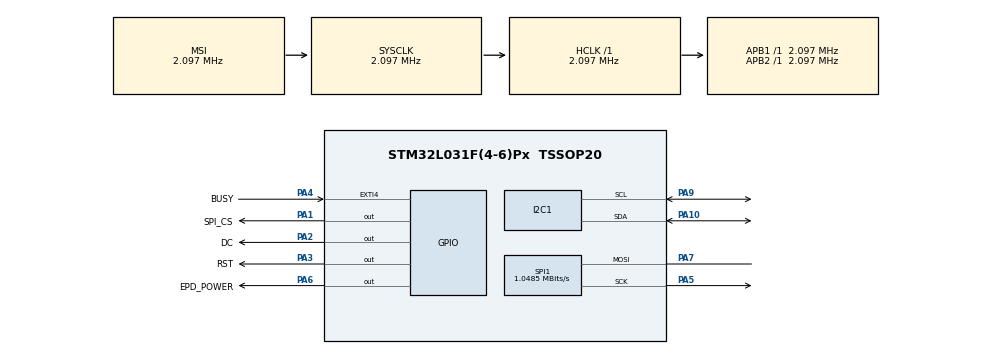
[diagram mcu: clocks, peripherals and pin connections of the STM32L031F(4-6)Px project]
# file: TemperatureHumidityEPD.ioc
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ADC.ClockPrescaler=ADC_CLOCK_SYNC_PCLK_DIV1
ADC.ContinuousConvMode=DISABLE
ADC.DMAContinuousRequests=DISABLE
ADC.DataAlign=ADC_DATAALIGN_RIGHT
ADC.DiscontinuousConvMode=DISABLE
ADC.EOCSelection=ADC_EOC_SINGLE_CONV
ADC.EnableAnalogWatchDog=false
ADC.ExternalTrigConv=ADC_SOFTWARE_START
ADC.ExternalTrigConvEdge=ADC_EXTERNALTRIGCONVEDGE_NONE
ADC.LowPowerAutoPowerOff=DISABLE
ADC.LowPowerAutoWait=ENABLE
ADC.LowPowerFrequencyMode=ENABLE
ADC.Overrun=ADC_OVR_DATA_PRESERVED
ADC.OversamplingMode=DISABLE
ADC.Resolution=ADC_RESOLUTION_12B
ADC.SamplingTime=ADC_SAMPLETIME_1CYCLE_5
ADC.ScanConvMode=ADC_SCAN_DIRECTION_FORWARD
Dma.I2C1_RX.0.Direction=DMA_PERIPH_TO_MEMORY
Dma.I2C1_RX.0.Instance=DMA1_Channel3
Dma.I2C1_RX.0.MemDataAlignment=DMA_MDATAALIGN_BYTE
Dma.I2C1_RX.0.MemInc=DMA_MINC_ENABLE
Dma.I2C1_RX.0.Mode=DMA_NORMAL
Dma.I2C1_RX.0.PeriphDataAlignment=DMA_PDATAALIGN_BYTE
Dma.I2C1_RX.0.PeriphInc=DMA_PINC_DISABLE
Dma.I2C1_RX.0.Priority=DMA_PRIORITY_LOW
Dma.Request0=I2C1_RX
Mcu.Family=STM32L0
Mcu.Name=STM32L031F(4-6)Px
Mcu.Package=TSSOP20
NVIC.DMA1_Channel2_3_IRQn=true\:0\:0\:false\:false\:true\:false
NVIC.EXTI4_15_IRQn=true\:0\:0\:false\:false\:true\:true
NVIC.I2C1_IRQn=true\:0\:0\:false\:false\:true\:true
NVIC.RTC_IRQn=true\:0\:0\:false\:false\:true\:true
PA1.GPIO_Label=SPI_CS
PA1.Signal=GPIO_Output
PA10.Mode=I2C
PA10.Signal=I2C1_SDA
PA13.Mode=Serial_Wire
PA13.Signal=SYS_SWDIO
PA14.Mode=Serial_Wire
PA14.Signal=SYS_SWCLK
PA2.GPIO_Label=DC
PA2.Signal=GPIO_Output
PA3.GPIO_Label=RST
PA3.Signal=GPIO_Output
PA4.GPIO_Label=BUSY
PA4.Signal=GPXTI4
PA5.GPIO_Speed=GPIO_SPEED_FREQ_MEDIUM
PA5.Mode=Simplex_Bidirectional_Master
PA5.Signal=SPI1_SCK
PA6.GPIO_Label=EPD_POWER
PA6.GPIO_ModeDefaultOutputPP=GPIO_MODE_OUTPUT_OD
PA6.PinState=GPIO_PIN_SET
PA6.Signal=GPIO_Output
PA7.GPIO_Speed=GPIO_SPEED_FREQ_MEDIUM
PA7.Mode=Simplex_Bidirectional_Master
PA7.Signal=SPI1_MOSI
PA9.Mode=I2C
PA9.Signal=I2C1_SCL
ProjectManager.HeapSize=0x200
ProjectManager.StackSize=0x400
ProjectManager.TargetToolchain=Makefile
RCC.ADCFreq_Value=16000000
RCC.AHBFreq_Value=2097000
RCC.APB1Freq_Value=2097000
RCC.APB1TimFreq_Value=2097000
RCC.APB2Freq_Value=2097000
RCC.APB2TimFreq_Value=2097000
RCC.HCLKFreq_Value=2097000
RCC.HSE_VALUE=8000000
RCC.HSI16_VALUE=16000000
RCC.HSI_VALUE=16000000
RCC.LSE_VALUE=32768
RCC.MSI_VALUE=2097000
RCC.PLLMUL=RCC_PLLMUL_4
RCC.PWR_Regulator_Voltage_Scale=PWR_REGULATOR_VOLTAGE_SCALE3
RCC.SYSCLKFreq_VALUE=2097000
RCC.VCOOutputFreq_Value=64000000
RCC.VDD_VALUE=3
RTC.AsynchPrediv=124
RTC.StoreOperation=RTC_STOREOPERATION_RESET
RTC.SynchPrediv=295
RTC.WakeUpClock-WakeUp=RTC_WAKEUPCLOCK_CK_SPRE_16BITS
RTC.WakeUpCounter-WakeUp=60
SPI1.BaudRatePrescaler=SPI_BAUDRATEPRESCALER_2
SPI1.CalculateBaudRate=1.0485 MBits/s
SPI1.Direction=SPI_DIRECTION_1LINE
SPI1.Mode=SPI_MODE_MASTER
SPI1.VirtualType=VM_MASTER
VP_ADC_Vref_Input.Mode=IN-Vrefint
VP_RTC_VS_RTC_Activate.Mode=RTC_Enabled
VP_RTC_VS_RTC_Calendar.Mode=RTC_Calendar
VP_RTC_VS_RTC_WakeUp_intern.Mode=WakeUp
board=TemperatureHumidityEPD

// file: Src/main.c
/**
  ******************************************************************************
  * @file           : main.c
  * @brief          : Main program body
  ******************************************************************************
  ** This notice applies to any and all portions of this file
  * that are not between comment pairs USER CODE BEGIN and
  * USER CODE END. Other portions of this file, whether
  * inserted by the user or by software development tools
  * are owned by their respective copyright owners.
  *
  * COPYRIGHT(c) 2018 STMicroelectronics
  *
  * Redistribution and use in source and binary forms, with or without modification,
  * are permitted provided that the following conditions are met:
  *   1. Redistributions of source code must retain the above copyright notice,
  *      this list of conditions and the following disclaimer.
  *   2. Redistributions in binary form must reproduce the above copyright notice,
  *      this list of conditions and the following disclaimer in the documentation
  *      and/or other materials provided with the distribution.
  *   3. Neither the name of STMicroelectronics nor the names of its contributors
  *      may be used to endorse or promote products derived from this software
  *      without specific prior written permission.
  *
  * THIS SOFTWARE IS PROVIDED BY THE COPYRIGHT HOLDERS AND CONTRIBUTORS "AS IS"
  * AND ANY EXPRESS OR IMPLIED WARRANTIES, INCLUDING, BUT NOT LIMITED TO, THE
  * IMPLIED WARRANTIES OF MERCHANTABILITY AND FITNESS FOR A PARTICULAR PURPOSE ARE
  * DISCLAIMED. IN NO EVENT SHALL THE COPYRIGHT HOLDER OR CONTRIBUTORS BE LIABLE
  * FOR ANY DIRECT, INDIRECT, INCIDENTAL, SPECIAL, EXEMPLARY, OR CONSEQUENTIAL
  * DAMAGES (INCLUDING, BUT NOT LIMITED TO, PROCUREMENT OF SUBSTITUTE GOODS OR
  * SERVICES; LOSS OF USE, DATA, OR PROFITS; OR BUSINESS INTERRUPTION) HOWEVER
  * CAUSED AND ON ANY THEORY OF LIABILITY, WHETHER IN CONTRACT, STRICT LIABILITY,
  * OR TORT (INCLUDING NEGLIGENCE OR OTHERWISE) ARISING IN ANY WAY OUT OF THE USE
  * OF THIS SOFTWARE, EVEN IF ADVISED OF THE POSSIBILITY OF SUCH DAMAGE.
  *
  ******************************************************************************
  */
#include "main.h"
#include "stm32l0xx_hal.h"

/* USER CODE BEGIN Includes */
#include "epdcontroller.h"
/* USER CODE END Includes */

ADC_HandleTypeDef hadc;

I2C_HandleTypeDef hi2c1;
DMA_HandleTypeDef hdma_i2c1_rx;

RTC_HandleTypeDef hrtc;

SPI_HandleTypeDef hspi1;

/* USER CODE BEGIN PV */
/* Private variables ---------------------------------------------------------*/

/* USER CODE END PV */

void SystemClock_Config(void);
static void MX_GPIO_Init(void);
static void MX_DMA_Init(void);
static void MX_RTC_Init(void);
static void MX_I2C1_Init(void);
static void MX_SPI1_Init(void);
static void MX_ADC_Init(void);

/* USER CODE BEGIN PFP */
/* Private function prototypes -----------------------------------------------*/
static void MX_RTC_Init_fixed(void);
/* USER CODE END PFP */

int main(void)
{

  /* MCU Configuration----------------------------------------------------------*/

  /* Reset of all peripherals, Initializes the Flash interface and the Systick. */
  HAL_Init();

  /* Configure the system clock */
  SystemClock_Config();

  /* Initialize all configured peripherals */
  MX_GPIO_Init();
  MX_DMA_Init();
  MX_RTC_Init();
  MX_I2C1_Init();
  MX_SPI1_Init();
  MX_ADC_Init();
  /* USER CODE BEGIN 2 */

  // Rerun RTC_Init with bug fix, to make sure HAL_RTC_Init is run
  MX_RTC_Init_fixed();

  /* USER CODE END 2 */

  /* Infinite loop */
  /* USER CODE BEGIN WHILE */

	 pollSensors();
  /* USER CODE END WHILE */

}

void SystemClock_Config(void)
{

  RCC_OscInitTypeDef RCC_OscInitStruct;
  RCC_ClkInitTypeDef RCC_ClkInitStruct;
  RCC_PeriphCLKInitTypeDef PeriphClkInit;

    /**Configure the main internal regulator output voltage
    */
  __HAL_PWR_VOLTAGESCALING_CONFIG(PWR_REGULATOR_VOLTAGE_SCALE3);

    /**Initializes the CPU, AHB and APB busses clocks
    */
  RCC_OscInitStruct.OscillatorType = RCC_OSCILLATORTYPE_LSI|RCC_OSCILLATORTYPE_MSI;
  RCC_OscInitStruct.LSIState = RCC_LSI_ON;
  RCC_OscInitStruct.MSIState = RCC_MSI_ON;
  RCC_OscInitStruct.MSICalibrationValue = 0;
  RCC_OscInitStruct.MSIClockRange = RCC_MSIRANGE_5;
  RCC_OscInitStruct.PLL.PLLState = RCC_PLL_NONE;
  if (HAL_RCC_OscConfig(&RCC_OscInitStruct) != HAL_OK)
  {
    _Error_Handler(__FILE__, __LINE__);
  }

    /**Initializes the CPU, AHB and APB busses clocks
    */
  RCC_ClkInitStruct.ClockType = RCC_CLOCKTYPE_HCLK|RCC_CLOCKTYPE_SYSCLK
                              |RCC_CLOCKTYPE_PCLK1|RCC_CLOCKTYPE_PCLK2;
  RCC_ClkInitStruct.SYSCLKSource = RCC_SYSCLKSOURCE_MSI;
  RCC_ClkInitStruct.AHBCLKDivider = RCC_SYSCLK_DIV1;
  RCC_ClkInitStruct.APB1CLKDivider = RCC_HCLK_DIV1;
  RCC_ClkInitStruct.APB2CLKDivider = RCC_HCLK_DIV1;

  if (HAL_RCC_ClockConfig(&RCC_ClkInitStruct, FLASH_LATENCY_0) != HAL_OK)
  {
    _Error_Handler(__FILE__, __LINE__);
  }

  PeriphClkInit.PeriphClockSelection = RCC_PERIPHCLK_I2C1|RCC_PERIPHCLK_RTC;
  PeriphClkInit.I2c1ClockSelection = RCC_I2C1CLKSOURCE_PCLK1;
  PeriphClkInit.RTCClockSelection = RCC_RTCCLKSOURCE_LSI;
  if (HAL_RCCEx_PeriphCLKConfig(&PeriphClkInit) != HAL_OK)
  {
    _Error_Handler(__FILE__, __LINE__);
  }

    /**Configure the Systick interrupt time
    */
  HAL_SYSTICK_Config(HAL_RCC_GetHCLKFreq()/1000);

    /**Configure the Systick
    */
  HAL_SYSTICK_CLKSourceConfig(SYSTICK_CLKSOURCE_HCLK);

  /* SysTick_IRQn interrupt configuration */
  HAL_NVIC_SetPriority(SysTick_IRQn, 0, 0);
}

/* ADC init function */
static void MX_ADC_Init(void)
{

  ADC_ChannelConfTypeDef sConfig;

    /**Configure the global features of the ADC (Clock, Resolution, Data Alignment and number of conversion)
    */
  hadc.Instance = ADC1;
  hadc.Init.OversamplingMode = DISABLE;
  hadc.Init.ClockPrescaler = ADC_CLOCK_SYNC_PCLK_DIV1;
  hadc.Init.Resolution = ADC_RESOLUTION_12B;
  hadc.Init.SamplingTime = ADC_SAMPLETIME_1CYCLE_5;
  hadc.Init.ScanConvMode = ADC_SCAN_DIRECTION_FORWARD;
  hadc.Init.DataAlign = ADC_DATAALIGN_RIGHT;
  hadc.Init.ContinuousConvMode = DISABLE;
  hadc.Init.DiscontinuousConvMode = DISABLE;
  hadc.Init.ExternalTrigConvEdge = ADC_EXTERNALTRIGCONVEDGE_NONE;
  hadc.Init.ExternalTrigConv = ADC_SOFTWARE_START;
  hadc.Init.DMAContinuousRequests = DISABLE;
  hadc.Init.EOCSelection = ADC_EOC_SINGLE_CONV;
  hadc.Init.Overrun = ADC_OVR_DATA_PRESERVED;
  hadc.Init.LowPowerAutoWait = ENABLE;
  hadc.Init.LowPowerFrequencyMode = ENABLE;
  hadc.Init.LowPowerAutoPowerOff = DISABLE;
  if (HAL_ADC_Init(&hadc) != HAL_OK)
  {
    _Error_Handler(__FILE__, __LINE__);
  }

    /**Configure for the selected ADC regular channel to be converted.
    */
  sConfig.Channel = ADC_CHANNEL_VREFINT;
  sConfig.Rank = ADC_RANK_CHANNEL_NUMBER;
  if (HAL_ADC_ConfigChannel(&hadc, &sConfig) != HAL_OK)
  {
    _Error_Handler(__FILE__, __LINE__);
  }

}

/* I2C1 init function */
static void MX_I2C1_Init(void)
{

  hi2c1.Instance = I2C1;
  hi2c1.Init.Timing = 0x00000708;
  hi2c1.Init.OwnAddress1 = 0;
  hi2c1.Init.AddressingMode = I2C_ADDRESSINGMODE_7BIT;
  hi2c1.Init.DualAddressMode = I2C_DUALADDRESS_DISABLE;
  hi2c1.Init.OwnAddress2 = 0;
  hi2c1.Init.OwnAddress2Masks = I2C_OA2_NOMASK;
  hi2c1.Init.GeneralCallMode = I2C_GENERALCALL_DISABLE;
  hi2c1.Init.NoStretchMode = I2C_NOSTRETCH_DISABLE;
  if (HAL_I2C_Init(&hi2c1) != HAL_OK)
  {
    _Error_Handler(__FILE__, __LINE__);
  }

    /**Configure Analogue filter
    */
  if (HAL_I2CEx_ConfigAnalogFilter(&hi2c1, I2C_ANALOGFILTER_ENABLE) != HAL_OK)
  {
    _Error_Handler(__FILE__, __LINE__);
  }

    /**Configure Digital filter
    */
  if (HAL_I2CEx_ConfigDigitalFilter(&hi2c1, 0) != HAL_OK)
  {
    _Error_Handler(__FILE__, __LINE__);
  }

}

/* RTC init function */
static void MX_RTC_Init(void)
{

  RTC_TimeTypeDef sTime;
  RTC_DateTypeDef sDate;

    /**Initialize RTC Only
    */
  hrtc.Instance = RTC;
if(HAL_RTCEx_BKUPRead(&hrtc, RTC_BKP_DR0) != 0x32F2){
  hrtc.Init.HourFormat = RTC_HOURFORMAT_24;
  hrtc.Init.AsynchPrediv = 124;
  hrtc.Init.SynchPrediv = 295;
  hrtc.Init.OutPut = RTC_OUTPUT_DISABLE;
  hrtc.Init.OutPutRemap = RTC_OUTPUT_REMAP_NONE;
  hrtc.Init.OutPutPolarity = RTC_OUTPUT_POLARITY_HIGH;
  hrtc.Init.OutPutType = RTC_OUTPUT_TYPE_OPENDRAIN;
  if (HAL_RTC_Init(&hrtc) != HAL_OK)
  {
    _Error_Handler(__FILE__, __LINE__);
  }

    /**Initialize RTC and set the Time and Date
    */
  sTime.Hours = 0x0;
  sTime.Minutes = 0x0;
  sTime.Seconds = 0x0;
  sTime.DayLightSaving = RTC_DAYLIGHTSAVING_NONE;
  sTime.StoreOperation = RTC_STOREOPERATION_RESET;
  if (HAL_RTC_SetTime(&hrtc, &sTime, RTC_FORMAT_BCD) != HAL_OK)
  {
    _Error_Handler(__FILE__, __LINE__);
  }

  sDate.WeekDay = RTC_WEEKDAY_MONDAY;
  sDate.Month = RTC_MONTH_JANUARY;
  sDate.Date = 0x1;
  sDate.Year = 0x0;

  if (HAL_RTC_SetDate(&hrtc, &sDate, RTC_FORMAT_BCD) != HAL_OK)
  {
    _Error_Handler(__FILE__, __LINE__);
  }

    /**Enable the WakeUp
    */
  if (HAL_RTCEx_SetWakeUpTimer_IT(&hrtc, 60, RTC_WAKEUPCLOCK_CK_SPRE_16BITS) != HAL_OK)
  {
    _Error_Handler(__FILE__, __LINE__);
  }

    HAL_RTCEx_BKUPWrite(&hrtc,RTC_BKP_DR0,0x32F2);
  }

}

/* SPI1 init function */
static void MX_SPI1_Init(void)
{

  /* SPI1 parameter configuration*/
  hspi1.Instance = SPI1;
  hspi1.Init.Mode = SPI_MODE_MASTER;
  hspi1.Init.Direction = SPI_DIRECTION_1LINE;
  hspi1.Init.DataSize = SPI_DATASIZE_8BIT;
  hspi1.Init.CLKPolarity = SPI_POLARITY_LOW;
  hspi1.Init.CLKPhase = SPI_PHASE_1EDGE;
  hspi1.Init.NSS = SPI_NSS_SOFT;
  hspi1.Init.BaudRatePrescaler = SPI_BAUDRATEPRESCALER_2;
  hspi1.Init.FirstBit = SPI_FIRSTBIT_MSB;
  hspi1.Init.TIMode = SPI_TIMODE_DISABLE;
  hspi1.Init.CRCCalculation = SPI_CRCCALCULATION_DISABLE;
  hspi1.Init.CRCPolynomial = 7;
  if (HAL_SPI_Init(&hspi1) != HAL_OK)
  {
    _Error_Handler(__FILE__, __LINE__);
  }

}

static void MX_DMA_Init(void)
{
  /* DMA controller clock enable */
  __HAL_RCC_DMA1_CLK_ENABLE();

  /* DMA interrupt init */
  /* DMA1_Channel2_3_IRQn interrupt configuration */
  HAL_NVIC_SetPriority(DMA1_Channel2_3_IRQn, 0, 0);
  HAL_NVIC_EnableIRQ(DMA1_Channel2_3_IRQn);

}

/** Configure pins as
        * Analog
        * Input
        * Output
        * EVENT_OUT
        * EXTI
        * Free pins are configured automatically as Analog (this feature is enabled through
        * the Code Generation settings)
*/
static void MX_GPIO_Init(void)
{

  GPIO_InitTypeDef GPIO_InitStruct;

  /* GPIO Ports Clock Enable */
  __HAL_RCC_GPIOC_CLK_ENABLE();
  __HAL_RCC_GPIOA_CLK_ENABLE();
  __HAL_RCC_GPIOB_CLK_ENABLE();

  /*Configure GPIO pin Output Level */
  HAL_GPIO_WritePin(GPIOA, SPI_CS_Pin|DC_Pin|RST_Pin, GPIO_PIN_RESET);

  /*Configure GPIO pin Output Level */
  HAL_GPIO_WritePin(EPD_POWER_GPIO_Port, EPD_POWER_Pin, GPIO_PIN_SET);

  /*Configure GPIO pins : PC14 PC15 */
  GPIO_InitStruct.Pin = GPIO_PIN_14|GPIO_PIN_15;
  GPIO_InitStruct.Mode = GPIO_MODE_ANALOG;
  GPIO_InitStruct.Pull = GPIO_NOPULL;
  HAL_GPIO_Init(GPIOC, &GPIO_InitStruct);

  /*Configure GPIO pin : PA0 */
  GPIO_InitStruct.Pin = GPIO_PIN_0;
  GPIO_InitStruct.Mode = GPIO_MODE_ANALOG;
  GPIO_InitStruct.Pull = GPIO_NOPULL;
  HAL_GPIO_Init(GPIOA, &GPIO_InitStruct);

  /*Configure GPIO pins : SPI_CS_Pin DC_Pin RST_Pin */
  GPIO_InitStruct.Pin = SPI_CS_Pin|DC_Pin|RST_Pin;
  GPIO_InitStruct.Mode = GPIO_MODE_OUTPUT_PP;
  GPIO_InitStruct.Pull = GPIO_NOPULL;
  GPIO_InitStruct.Speed = GPIO_SPEED_FREQ_LOW;
  HAL_GPIO_Init(GPIOA, &GPIO_InitStruct);

  /*Configure GPIO pin : BUSY_Pin */
  GPIO_InitStruct.Pin = BUSY_Pin;
  GPIO_InitStruct.Mode = GPIO_MODE_IT_RISING;
  GPIO_InitStruct.Pull = GPIO_NOPULL;
  HAL_GPIO_Init(BUSY_GPIO_Port, &GPIO_InitStruct);

  /*Configure GPIO pin : EPD_POWER_Pin */
  GPIO_InitStruct.Pin = EPD_POWER_Pin;
  GPIO_InitStruct.Mode = GPIO_MODE_OUTPUT_PP;
  GPIO_InitStruct.Pull = GPIO_NOPULL;
  GPIO_InitStruct.Speed = GPIO_SPEED_FREQ_LOW;
  HAL_GPIO_Init(EPD_POWER_GPIO_Port, &GPIO_InitStruct);

  /*Configure GPIO pin : PB1 */
  GPIO_InitStruct.Pin = GPIO_PIN_1;
  GPIO_InitStruct.Mode = GPIO_MODE_ANALOG;
  GPIO_InitStruct.Pull = GPIO_NOPULL;
  HAL_GPIO_Init(GPIOB, &GPIO_InitStruct);

  /* EXTI interrupt init*/
  HAL_NVIC_SetPriority(EXTI4_15_IRQn, 0, 0);
  HAL_NVIC_EnableIRQ(EXTI4_15_IRQn);

}

/* USER CODE BEGIN 4 */

/* Hack to fix the RTC initialization. Does not check for the magic number, 0x32F2, in the DR0 register,
 * which prevented RTC reinitialization on returning from Standby. Just a copy and paste of the generated RTC code
 * with the offending if statement removed.
 */
static void MX_RTC_Init_fixed(void)
{

  RTC_TimeTypeDef sTime;
  RTC_DateTypeDef sDate;

    /**Initialize RTC Only
    */
  hrtc.Instance = RTC;

  hrtc.Init.HourFormat = RTC_HOURFORMAT_24;
  hrtc.Init.AsynchPrediv = 124;
  hrtc.Init.SynchPrediv = 295;
  hrtc.Init.OutPut = RTC_OUTPUT_DISABLE;
  hrtc.Init.OutPutRemap = RTC_OUTPUT_REMAP_NONE;
  hrtc.Init.OutPutPolarity = RTC_OUTPUT_POLARITY_HIGH;
  hrtc.Init.OutPutType = RTC_OUTPUT_TYPE_OPENDRAIN;
  if (HAL_RTC_Init(&hrtc) != HAL_OK)
  {
    _Error_Handler(__FILE__, __LINE__);
  }

    /**Initialize RTC and set the Time and Date
    */
  if(HAL_RTCEx_BKUPRead(&hrtc, RTC_BKP_DR0) != 0x32F2) {
	  sTime.Hours = 0x0;
	  sTime.Minutes = 0x0;
	  sTime.Seconds = 0x0;
	  sTime.DayLightSaving = RTC_DAYLIGHTSAVING_NONE;
	  sTime.StoreOperation = RTC_STOREOPERATION_RESET;
	  if (HAL_RTC_SetTime(&hrtc, &sTime, RTC_FORMAT_BCD) != HAL_OK)
	  {
		_Error_Handler(__FILE__, __LINE__);
	  }

	  sDate.WeekDay = RTC_WEEKDAY_MONDAY;
	  sDate.Month = RTC_MONTH_JANUARY;
	  sDate.Date = 0x1;
	  sDate.Year = 0x0;

	  if (HAL_RTC_SetDate(&hrtc, &sDate, RTC_FORMAT_BCD) != HAL_OK)
	  {
		_Error_Handler(__FILE__, __LINE__);
	  }

	HAL_RTCEx_BKUPWrite(&hrtc,RTC_BKP_DR0,0x32F2);
  }

}

/* USER CODE END 4 */

void _Error_Handler(char *file, int line)
{
  while(1)
  {
  }
}

/************************ (C) COPYRIGHT STMicroelectronics *****END OF FILE****/
